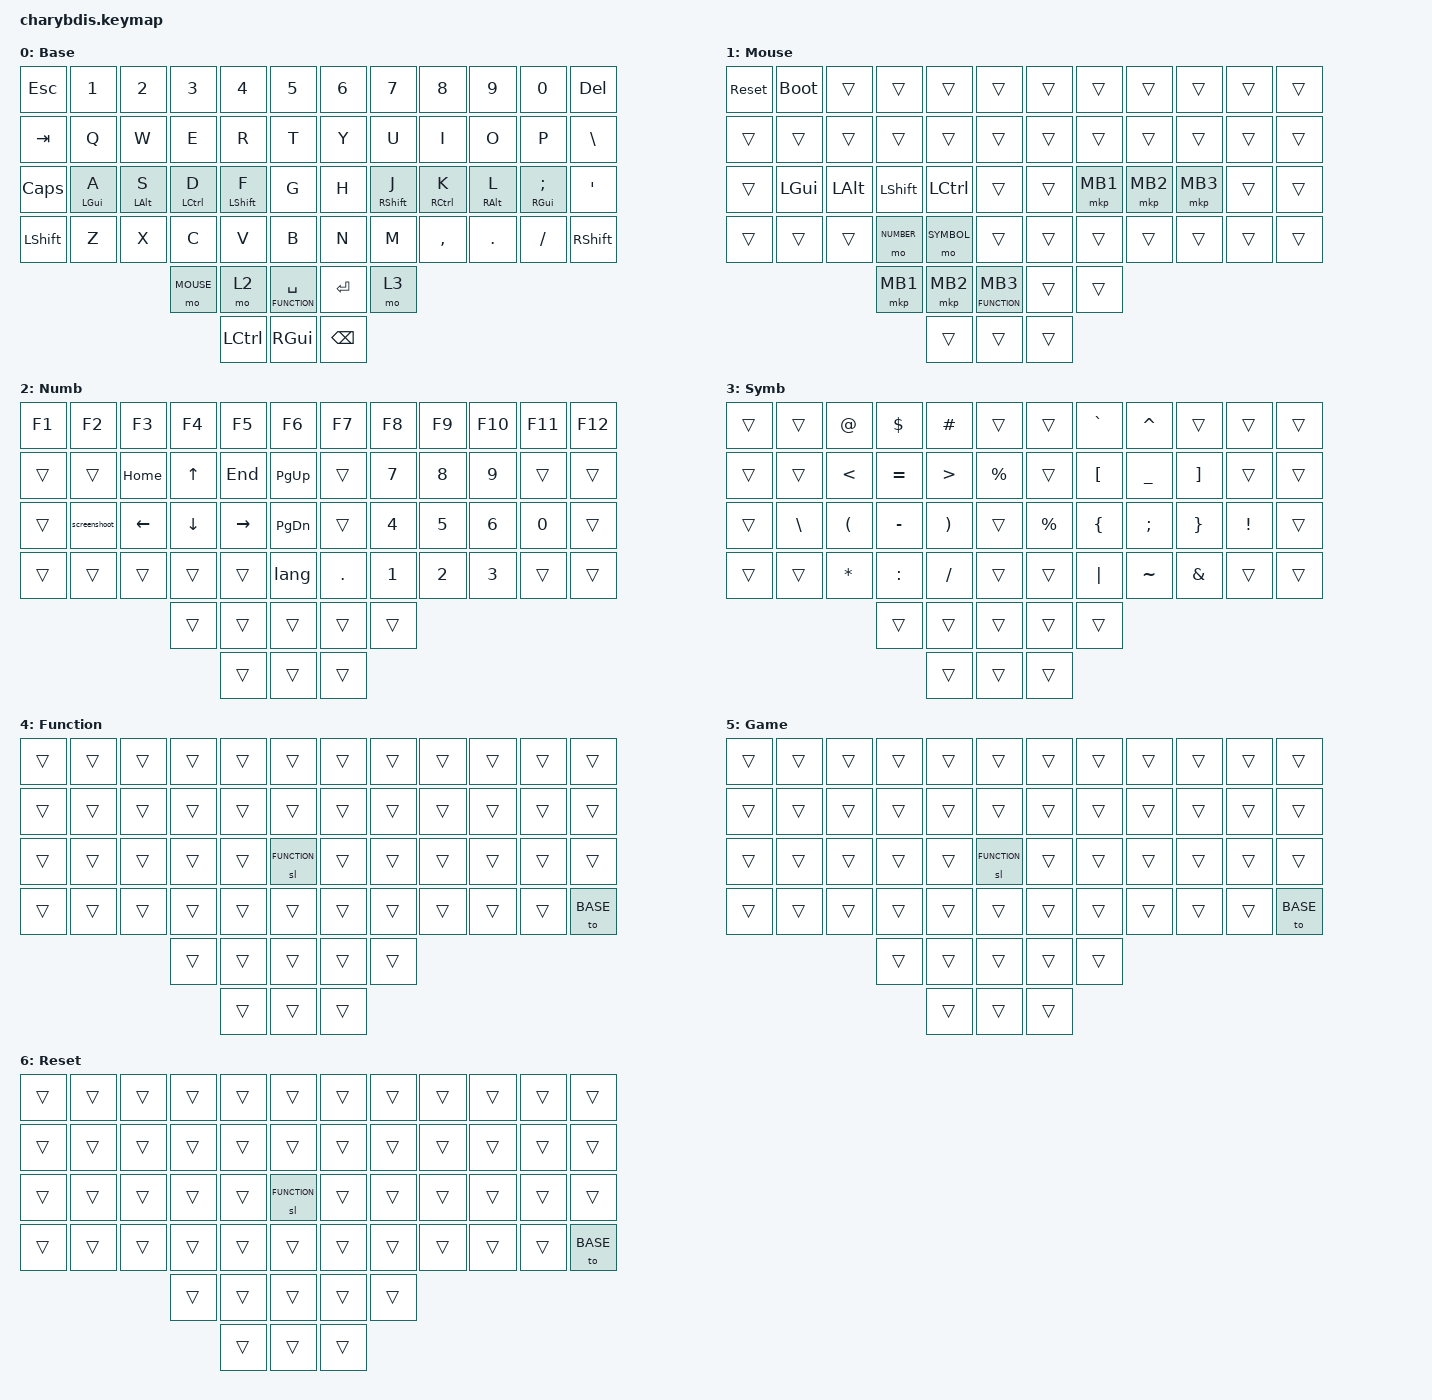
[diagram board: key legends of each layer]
#include <dt-bindings/zmk/mouse.h>
#include <behaviors/mouse_keys.dtsi>

#define ZMK_POINTING_DEFAULT_SCRL_VAL 15

#include <behaviors.dtsi>
#include <dt-bindings/zmk/keys.h>
#include <dt-bindings/zmk/pointing.h>

#define BASE 0
#define MOUSE 1
#define NUMBER 2
#define SYMBOL 3
#define FUNCTION 4
#define GAME 5
#define RESET 6

&msc {
    delay-ms = <0>;
    time-to-max-speed-ms = <0>;
};

&sk {
    release-after-ms = <600>;
    quick-release;
};

&sl { ignore-modifiers; };

&mt { flavor = "tap-preferred"; };

&lt {
    flavor = "balanced";
    tapping-term-ms = <200>;
    quick-tap-ms = <175>;
};

&caps_word { /delete-property/ ignore-modifiers; };

/ {
    /* Cursor on Base, Mouse, Symbol, Game, Reset. Auto-mouse → layer 1. */

    trackball_listener {
        compatible = "zmk,input-behavior-listener";
        device = <&vtrackball>;
        layers = <BASE MOUSE SYMBOL GAME RESET>;
        evt-type = <INPUT_EV_REL>;
        x-input-code = <INPUT_REL_X>;
        y-input-code = <INPUT_REL_Y>;
        scale-multiplier = <1>;
        scale-divisor = <2>;
        bindings = <&ib_toggle_layer MOUSE>;
    };

    /* Precision cursor while Number layer is held. */

    trackball_snipe_listener {
        compatible = "zmk,input-behavior-listener";
        device = <&vtrackball>;
        layers = <NUMBER>;
        evt-type = <INPUT_EV_REL>;
        x-input-code = <INPUT_REL_X>;
        y-input-code = <INPUT_REL_Y>;
        scale-multiplier = <1>;
        scale-divisor = <3>;
    };

    /* Omnidirectional scroll while Function layer is active. */

    trackball_scroll_listener {
        compatible = "zmk,input-behavior-listener";
        device = <&vtrackball>;
        layers = <FUNCTION>;
        evt-type = <INPUT_EV_REL>;
        x-input-code = <INPUT_REL_MISC>;
        y-input-code = <INPUT_REL_WHEEL>;
        y-invert;
        scale-multiplier = <1>;
        scale-divisor = <3>;
        bindings = <&ib_wheel_scaler 1 3>;
    };

    ib_wheel_scaler: ib_wheel_scaler {
        compatible = "zmk,input-behavior-scaler";
        #binding-cells = <2>;
        evt-type = <INPUT_EV_REL>;
        input-code = <INPUT_REL_WHEEL>;
    };

    ib_toggle_layer: ib_toggle_layer {
        compatible = "zmk,input-behavior-tog-layer";
        #binding-cells = <1>;
        time-to-live-ms = <1000>;
    };

    combos {
        compatible = "zmk,combos";

        rh_leftClick {
            bindings = <&mkp LCLK>;
            key-positions = <43 44>;
        };

        rh_rightClick {
            bindings = <&mkp RCLK>;
            key-positions = <44 45>;
        };

        rh_middleClick {
            bindings = <&mkp MCLK>;
            key-positions = <44 45 43>;
        };

        lh_leftClick {
            bindings = <&mkp LCLK>;
            key-positions = <40 39>;
        };

        lh_rightClick {
            bindings = <&mkp RCLK>;
            key-positions = <38 39>;
        };

        lh_middleClick {
            bindings = <&mkp MCLK>;
            key-positions = <38 39 40>;
        };

        APOSX {
            bindings = <&kp APOS>;
            key-positions = <31 35>;
        };

        ENTERY {
            bindings = <&kp ENTER>;
            key-positions = <35 47>;
        };

        kitty_layer {
            bindings = <&tog SYMBOL>;
            key-positions = <0 11 47 36>;
        };

        DELETEY {
            bindings = <&kp DELETE>;
            key-positions = <11 23>;
        };

        LBKTX {
            bindings = <&kp LBKT>;
            key-positions = <31 22>;
        };

        RBKTX {
            bindings = <&kp RBKT>;
            key-positions = <31 23>;
        };

        MINUSX {
            bindings = <&kp MINUS>;
            key-positions = <31 10>;
        };

        PLUSX {
            bindings = <&kp EQUAL>;
            key-positions = <31 11>;
        };

        DELETEX {
            bindings = <&kp DELETE>;
            key-positions = <11 10>;
        };

        ToLayer1L {
            bindings = <&mo MOUSE>;
            key-positions = <50 54>;
        };

        ToLayer1R {
            bindings = <&mo MOUSE>;
            key-positions = <51 55>;
        };

        WinLX {
            bindings = <&kp LEFT_WIN>;
            key-positions = <48 49>;
        };

        GraveX {
            bindings = <&kp GRAVE>;
            key-positions = <0 1>;
        };

        GraveY {
            bindings = <&kp GRAVE>;
            key-positions = <0 12>;
        };

        rh_leftClickY {
            bindings = <&mkp LCLK>;
            key-positions = <31 43>;
        };

        rh_rightClickY {
            bindings = <&mkp RCLK>;
            key-positions = <33 45>;
        };

        rh_middleClickY {
            bindings = <&mkp MCLK>;
            key-positions = <32 44>;
        };

        ForwardR {
            bindings = <&mkp MB5>;
            key-positions = <52 55>;
        };

        BackR {
            bindings = <&mkp MB4>;
            key-positions = <52 51>;
        };

        SpaceR {
            bindings = <&kp SPACE>;
            key-positions = <33 31 31 33>;
        };

        SpaceL {
            bindings = <&kp SPACE>;
            key-positions = <26 28>;
        };

        combo_unlock {
            key-positions = <0 4>;
            bindings = <&studio_unlock>;
        };

        combo_reset_layer_left {
            key-positions = <20 24>;
            bindings = <&to RESET>;
            timeout-ms = <20>;
            require-prior-idle-ms = <250>;
        };

        combo_reset_layer_right {
            key-positions = <25 29>;
            bindings = <&to RESET>;
            timeout-ms = <20>;
            require-prior-idle-ms = <250>;
        };

        combo_reset_central {
            key-positions = <32 33>;
            bindings = <&bootloader>;
            timeout-ms = <20>;
            require-prior-idle-ms = <2000>;
        };

        combo_normal {
            key-positions = <7 8>;
            bindings = <&to BASE>;
            timeout-ms = <20>;
            require-prior-idle-ms = <250>;
        };

        combo_fn {
            key-positions = <27 28>;
            bindings = <&sl FUNCTION>;
            timeout-ms = <20>;
            require-prior-idle-ms = <250>;
        };

        combo_genshin {
            key-positions = <5 9>;
            bindings = <&to GAME>;
            timeout-ms = <20>;
            require-prior-idle-ms = <250>;
        };

        combo_esc {
            key-positions = <1 2>;
            bindings = <&kp ESCAPE>;
            timeout-ms = <20>;
            require-prior-idle-ms = <250>;
        };

        combo_tab {
            key-positions = <2 3>;
            bindings = <&kp TAB>;
            timeout-ms = <20>;
            require-prior-idle-ms = <250>;
        };

        combo_cdel {
            key-positions = <11 12>;
            bindings = <&kp LC(BACKSPACE)>;
            timeout-ms = <20>;
            require-prior-idle-ms = <250>;
        };
    };

    behaviors {
        /* Home row mods from choovick/zmk-config-charybdis.
         * Hold-trigger positions are the opposite hand, including thumbs
         * in this 4x6 matrix (left: 48 49 50 53 54, right: 51 52 55). */

        hml: home_row_mod_left {
            compatible = "zmk,behavior-hold-tap";
            label = "HML";
            #binding-cells = <2>;
            flavor = "balanced";
            require-prior-idle-ms = <150>;
            tapping-term-ms = <280>;
            quick-tap-ms = <175>;
            bindings = <&kp>, <&kp>;

            hold-trigger-key-positions = <6 7 8 9 10 11 18 19 20 21 22 23 30 31 32 33 34 35 42 43 44 45 46 47 51 52 55>;
            hold-trigger-on-release;
        };

        hmr: home_row_mod_right {
            compatible = "zmk,behavior-hold-tap";
            label = "HMR";
            #binding-cells = <2>;
            flavor = "balanced";
            require-prior-idle-ms = <150>;
            tapping-term-ms = <280>;
            quick-tap-ms = <175>;
            bindings = <&kp>, <&kp>;

            hold-trigger-key-positions = <0 1 2 3 4 5 12 13 14 15 16 17 24 25 26 27 28 29 36 37 38 39 40 41 48 49 50 53 54>;
            hold-trigger-on-release;
        };

        scrl_clk: scrl_clk {
            compatible = "zmk,behavior-hold-tap";
            #binding-cells = <2>;
            flavor = "balanced";
            tapping-term-ms = <200>;
            quick-tap-ms = <175>;
            bindings = <&mo>, <&mkp>;
        };

        smart_shift: smart_shift {
            compatible = "zmk,behavior-mod-morph";
            #binding-cells = <0>;
            bindings = <&sk LSHIFT>, <&caps_word>;

            mods = <(MOD_LSFT)>;
        };
    };

    macros {
        lang: lang {
            compatible = "zmk,behavior-macro";
            #binding-cells = <0>;
            bindings = <&kt LEFT_WIN &kp SPACE>;
            label = "LANG";
        };

        screenshoot: screenshoot {
            compatible = "zmk,behavior-macro";
            #binding-cells = <0>;
            bindings = <&kt LCTRL &kp LEFT_SHIFT &kp PRINTSCREEN>;
            label = "SCREENSHOOT";
        };
    };

    keymap {
        compatible = "zmk,keymap";

        Base {
            label = "Base";
            display-name = "Base";
            bindings = <
&kp ESC    &kp N1       &kp N2       &kp N3        &kp N4         &kp N5                &kp N6      &kp N7         &kp N8        &kp N9       &kp N0          &kp DEL
&kp TAB    &kp Q        &kp W        &kp E         &kp R          &kp T                 &kp Y       &kp U          &kp I         &kp O        &kp P           &kp BACKSLASH
&kp CLCK   &hml LGUI A  &hml LALT S  &hml LCTRL D  &hml LSHIFT F  &kp G                 &kp H       &hmr RSHIFT J  &hmr RCTRL K  &hmr RALT L  &hmr RGUI SEMI  &kp APOS
&kp LSHFT  &kp Z        &kp X        &kp C         &kp V          &kp B                 &kp N       &kp M          &kp COMMA     &kp DOT      &kp FSLH        &kp RIGHT_SHIFT
                                     &mo MOUSE     &mo 2          &lt FUNCTION SPACE    &kp RETURN  &mo 3
                                                   &kp LCTRL      &kp RIGHT_GUI         &kp BSPC
            >;
        };

        Mouse {
            label = "Mouse";
            display-name = "Mouse";
            bindings = <
&sys_reset  &bootloader  &trans    &trans      &trans      &trans                    &trans  &trans    &trans    &trans    &trans  &trans
&trans      &trans       &trans    &trans      &trans      &trans                    &trans  &trans    &trans    &trans    &trans  &trans
&trans      &kp LGUI     &kp LALT  &kp LSHFT   &kp LCTRL   &trans                    &trans  &mkp MB1  &mkp MB2  &mkp MB3  &trans  &trans
&trans      &trans       &trans    &mo NUMBER  &mo SYMBOL  &trans                    &trans  &trans    &trans    &trans    &trans  &trans
                                   &mkp MB1    &mkp MB2    &scrl_clk FUNCTION MB3    &trans  &trans
                                               &trans      &trans                    &trans
            >;
        };

        Num {
            label = "Number";
            display-name = "Numb";
            bindings = <
&kp F1  &kp F2        &kp F3          &kp F4          &kp F5           &kp F6           &kp F7   &kp F8  &kp F9  &kp F10  &kp F11  &kp F12
&trans  &trans        &kp HOME        &kp UP_ARROW    &kp END          &kp PAGE_UP      &trans   &kp N7  &kp N8  &kp N9   &trans   &trans
&trans  &screenshoot  &kp LEFT_ARROW  &kp DOWN_ARROW  &kp RIGHT_ARROW  &kp PAGE_DOWN    &trans   &kp N4  &kp N5  &kp N6   &kp N0   &trans
&trans  &trans        &trans          &trans          &trans           &lang            &kp DOT  &kp N1  &kp N2  &kp N3   &trans   &trans
                                      &trans          &trans           &trans           &trans   &trans
                                                      &trans           &trans           &trans
            >;
        };

        Sym {
            label = "Symbol";
            display-name = "Symb";
            bindings = <
&trans  &trans         &kp AT                &kp DOLLAR  &kp HASH               &trans       &trans       &kp GRAVE         &kp CARET       &trans             &trans           &trans
&trans  &trans         &kp LESS_THAN         &kp EQUAL   &kp GREATER_THAN       &kp PRCNT    &trans       &kp LEFT_BRACKET  &kp UNDERSCORE  &kp RIGHT_BRACKET  &trans           &trans
&trans  &kp BACKSLASH  &kp LEFT_PARENTHESIS  &kp MINUS   &kp RIGHT_PARENTHESIS  &trans       &kp PERCENT  &kp LEFT_BRACE    &kp SEMICOLON   &kp RIGHT_BRACE    &kp EXCLAMATION  &trans
&trans  &trans         &kp ASTERISK          &kp COLON   &kp SLASH              &trans       &trans       &kp PIPE          &kp TILDE       &kp AMPERSAND      &trans           &trans
                                             &trans      &trans                 &trans       &trans       &trans
                                                         &trans                 &trans       &trans
            >;
        };

        Fun {
            label = "Function";
            display-name = "Function";
            bindings = <
&trans  &trans  &trans  &trans  &trans  &trans          &trans  &trans  &trans  &trans  &trans  &trans
&trans  &trans  &trans  &trans  &trans  &trans          &trans  &trans  &trans  &trans  &trans  &trans
&trans  &trans  &trans  &trans  &trans  &sl FUNCTION    &trans  &trans  &trans  &trans  &trans  &trans
&trans  &trans  &trans  &trans  &trans  &trans          &trans  &trans  &trans  &trans  &trans  &to BASE
                        &trans  &trans  &trans          &trans  &trans
                                &trans  &trans          &trans
            >;
        };

        Button {
            label = "Game";
            display-name = "Game";
            bindings = <
&trans  &trans  &trans  &trans  &trans  &trans          &trans  &trans  &trans  &trans  &trans  &trans
&trans  &trans  &trans  &trans  &trans  &trans          &trans  &trans  &trans  &trans  &trans  &trans
&trans  &trans  &trans  &trans  &trans  &sl FUNCTION    &trans  &trans  &trans  &trans  &trans  &trans
&trans  &trans  &trans  &trans  &trans  &trans          &trans  &trans  &trans  &trans  &trans  &to BASE
                        &trans  &trans  &trans          &trans  &trans
                                &trans  &trans          &trans
            >;
        };

        Reset {
            label = "Reset";
            display-name = "Reset";
            bindings = <
&trans  &trans  &trans  &trans  &trans  &trans          &trans  &trans  &trans  &trans  &trans  &trans
&trans  &trans  &trans  &trans  &trans  &trans          &trans  &trans  &trans  &trans  &trans  &trans
&trans  &trans  &trans  &trans  &trans  &sl FUNCTION    &trans  &trans  &trans  &trans  &trans  &trans
&trans  &trans  &trans  &trans  &trans  &trans          &trans  &trans  &trans  &trans  &trans  &to BASE
                        &trans  &trans  &trans          &trans  &trans
                                &trans  &trans          &trans
            >;
        };
    };
};
